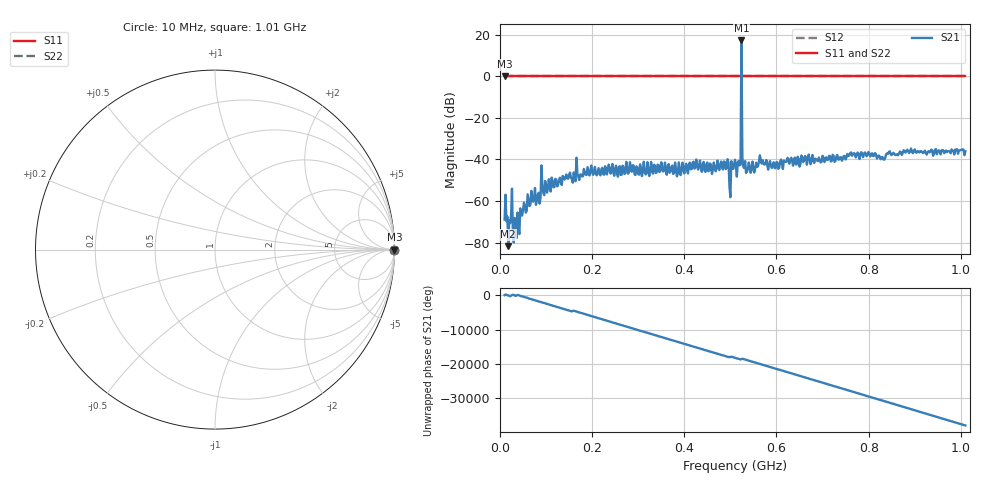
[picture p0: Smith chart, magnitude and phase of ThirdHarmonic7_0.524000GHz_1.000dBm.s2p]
! 8/17/2025 3:27:34 PM
! C:\ANRITSUVNA\TEMP\TEMP.S2P
! CHANNEL.1
! TR.MEASUREMENT
! RAW.DATA
! RF.CORRECTION.OFF
! AVERAGING.OFF
! IF.BANDWIDTH: 5KHZ
! SWEEPTYPE:  FREQ.SWEEP(Linear)
! Reference Plane Port Info
! PORT:  PORT1  PORT2
! DISTANCE:  0  m  0  m
! TIME:  0  s  0  s
! PHASE.OFFSET:  0  deg.  0  deg.
! LOSS:  0  dB  0  dB
! REF.LOSS:  0  dB  0  dB
! REF.FREQ:  0  Hz  0  Hz
! Power Info
! POWER:  -20  dBm  -20  dBm
! EFF.POWER:  -20  dBm  -20  dBm
! SOURCE.ATTEN:  0  dB  0  dB
! TEST.ATTEN:  0  dB  0  dB
# GHZ S RI R 50.0
! FREQ.GHZ  S11RE  S11IM  S21RE  S21IM  S12RE  S12IM  S22RE  S22IM
!; PortSelection: Port_12
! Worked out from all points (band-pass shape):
!   501 points, 10 MHz to 1.01 GHz, reference 50 ohm
!   highest |S21| = 17.26 dB at 524 MHz (marker M1); lowest = -81.7 dB at 18 MHz (marker M2)
!   |S21| within 3 dB of the highest: 523.8998 MHz to 524.1066 MHz (206.8 kHz wide, 0.0395 % of centre)
!   lowest |S11| = 0.0 dB at 10 MHz (marker M3)
!   |S11| at or under -10 dB: nowhere
!   |S22| runs from 0.0 to 0.0 dB; largest |S21 - S12| = 8
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0.01  1 0  0.000107 0.000341  1 0  1 0
0.018  1 0  8.05e-05 -1.68e-05  1 0  1 0
0.024  1 0  0.00015 -0.000432  1 0  1 0
0.032  1 0  0.000346 -0.000187  1 0  1 0
0.048  1 0  0.000109 0.000434  1 0  1 0
0.072  1 0  -0.000939 0.000229  1 0  1 0
0.082  1 0  -0.00124 0.000635  1 0  1 0
0.094  1 0  0.00142 -0.000676  1 0  1 0
0.178  1 0  -0.00382 -0.000729  1 0  1 0
0.344  1 0  0.00677 -0.0028  1 0  1 0
0.49  1 0  -0.00106 -0.00578  1 0  1 0
0.502  1 0  -0.00765 0.00494  1 0  1 0
0.506  1 0  0.0058 -0.00122  1 0  1 0
0.51  1 0  -0.00978 -0.00105  1 0  1 0
0.518  1 0  -0.00729 -0.00565  1 0  1 0
0.52  1 0  -0.005 0.00522  1 0  1 0
0.524  1 0  -4.71 5.565  1 0  1 0
0.528  1 0  -0.00665 0.000565  1 0  1 0
0.53  1 0  -0.00287 0.00547  1 0  1 0
0.678  1 0  0.00493 -0.0119  1 0  1 0
0.844  1 0  -0.00601 0.0139  1 0  1 0
1.01  1 0  0.00181 -0.0156  1 0  1 0
